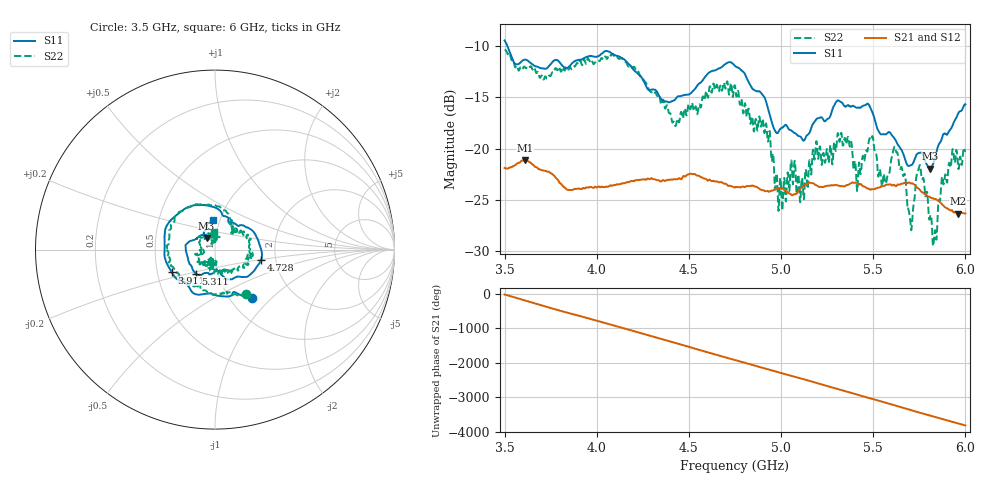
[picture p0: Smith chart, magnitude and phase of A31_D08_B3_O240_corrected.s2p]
! Created with skrf 1.9.0 (http://scikit-rf.org).
# Hz S RI R 50.0
!freq ReS11 ImS11 ReS21 ImS21 ReS12 ImS12 ReS22 ImS22
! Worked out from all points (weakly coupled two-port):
!   1601 points, 3.5 GHz to 6 GHz, reference 50 ohm
!   highest |S21| = -21.13 dB at 3.611 GHz (marker M1); lowest = -26.4 dB at 5.959 GHz (marker M2)
!   lowest |S11| = -22.0 dB at 5.808 GHz (marker M3), VSWR 1.17, Z = 45.1 + j5.84 ohm
!   |S11| at or under -10 dB: 3.516 GHz to end of sweep
!   |S22| runs from -29.6 to -10.3 dB; largest |S21 - S12| = 0.0011
!   S11 on the Smith chart (normalised r, x): 3.5 GHz: 1.26, -0.76; 3.911 GHz: 0.60, -0.16; 4.728 GHz: 1.68, -0.20; 5.311 GHz: 0.78, -0.22; 6 GHz: 0.92, +0.31
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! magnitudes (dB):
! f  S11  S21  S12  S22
! 3.5 GHz  -9.4  -21.9  -21.9  -10.3
! 3.611 GHz  -11.3  -21.1  -21.1  -12.1
! 3.911 GHz  -11.3  -24.0  -23.9  -11.4
! 3.917 GHz  -11.3  -24.0  -24.0  -11.7
! 4.334 GHz  -14.7  -23.1  -23.0  -14.8
! 4.422 GHz  -15.3  -23.0  -23.0  -17.6
! 4.728 GHz  -11.6  -23.7  -23.6  -13.6
! 4.75 GHz  -11.9  -23.8  -23.7  -13.9
! 4.928 GHz  -16.0  -24.2  -24.1  -19.3
! 4.995 GHz  -18.1  -23.9  -23.9  -22.9
! 5.167 GHz  -17.8  -23.4  -23.4  -21.6
! 5.311 GHz  -15.3  -23.6  -23.6  -18.7
! 5.419 GHz  -16.0  -23.5  -23.5  -22.4
! 5.584 GHz  -18.4  -23.5  -23.5  -22.6
! 5.623 GHz  -19.3  -23.7  -23.7  -20.3
! 5.703 GHz  -21.6  -23.4  -23.4  -27.6
! 5.752 GHz  -20.4  -24.0  -24.0  -21.6
! 5.808 GHz  -22.0  -24.8  -24.7  -26.8
! 5.834 GHz  -21.0  -24.9  -24.9  -28.0
! 5.88 GHz  -18.6  -25.6  -25.5  -23.3
! 5.959 GHz  -16.6  -26.4  -26.3  -21.5
! 6 GHz  -15.7  -26.4  -26.3  -20.2
